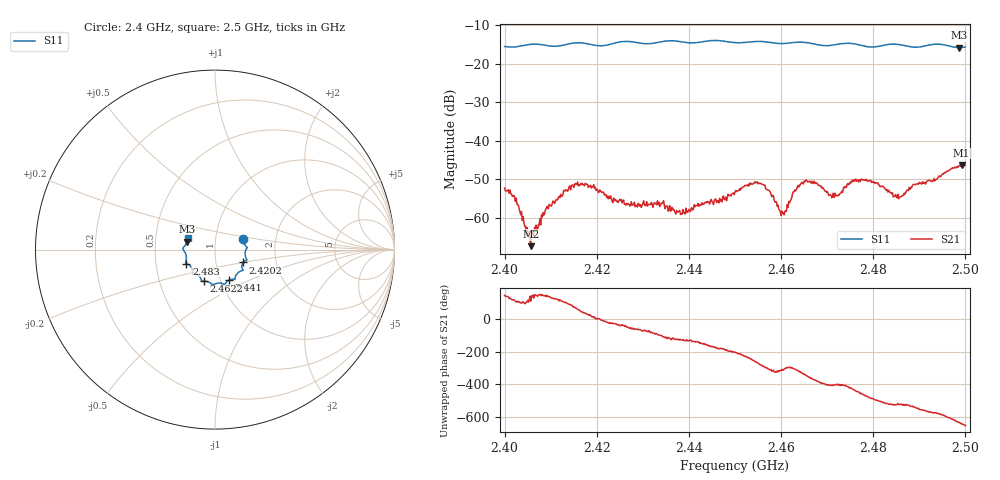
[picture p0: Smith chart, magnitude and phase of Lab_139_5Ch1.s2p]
# Hz S RI R 50
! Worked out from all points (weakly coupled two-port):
!   601 points, 2.4 GHz to 2.5 GHz, reference 50 ohm
!   highest |S21| = -46.23 dB at 2.4992 GHz (marker M1); lowest = -67.3 dB at 2.4057 GHz (marker M2)
!   lowest |S11| = -15.8 dB at 2.4987 GHz (marker M3), VSWR 1.39, Z = 36.4 + j3.29 ohm
!   |S11| at or under -10 dB: start of sweep to end of sweep
!   S12 and S22 are empty: the file has one direction only
!   S11 on the Smith chart (normalised r, x): 2.4 GHz: 1.36, +0.17; 2.4202 GHz: 1.35, -0.20; 2.441 GHz: 1.10, -0.39; 2.4622 GHz: 0.83, -0.30; 2.483 GHz: 0.72, -0.12; 2.5 GHz: 0.73, +0.09
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2.4e9  0.1562 0.0605  -0.00206 0.00133  0 0  0 0
2.4025e9  0.1634 0.0311  -0.000575 0.00173  0 0  0 0
2.405667e9  0.1786 0.014  -0.000163 0.0004  0 0  0 0
2.409333e9  0.1721 -0.00107  -0.00107 0.000917  0 0  0 0
2.416667e9  0.1775 -0.0583  0.00186 0.00198  0 0  0 0
2.420167e9  0.1561 -0.0718  0.00231 0.000159  0 0  0 0
2.426833e9  0.1564 -0.1166  0.000982 -0.00118  0 0  0 0
2.433333e9  0.113 -0.1524  -0.000136 -0.00148  0 0  0 0
2.441e9  0.0768 -0.1704  -0.000934 -0.000948  0 0  0 0
2.45e9  0.0268 -0.1863  -0.00201 0.000799  0 0  0 0
2.456e9  -0.0139 -0.194  0.00085 0.00258  0 0  0 0
2.460333e9  -0.0462 -0.1774  0.000783 0.000834  0 0  0 0
2.462167e9  -0.0632 -0.1765  0.000779 0.00154  0 0  0 0
2.466667e9  -0.0765 -0.1667  0.00299 -0.000273  0 0  0 0
2.471e9  -0.1057 -0.1382  0.0013 -0.0013  0 0  0 0
2.476e9  -0.1251 -0.1304  0.000696 -0.00309  0 0  0 0
2.483e9  -0.1592 -0.0781  -0.00216 -0.000902  0 0  0 0
2.483333e9  -0.1608 -0.0773  -0.00218 -0.000706  0 0  0 0
2.486e9  -0.1626 -0.068  -0.00178 -0.000629  0 0  0 0
2.498667e9  -0.1557 0.044  0.000423 0.0048  0 0  0 0
2.499167e9  -0.154 0.0511  0.00095 0.00479  0 0  0 0
2.5e9  -0.1527 0.0627  0.00187 0.00448  0 0  0 0
